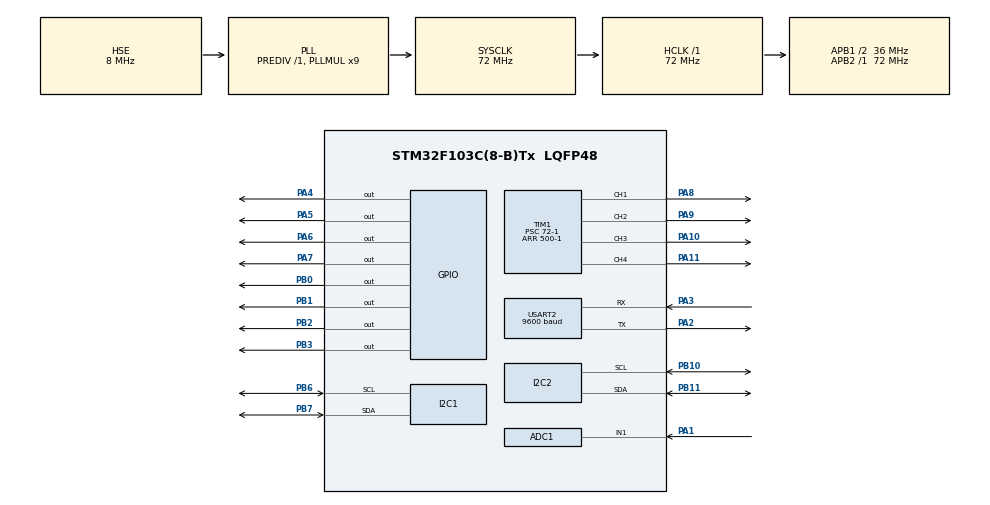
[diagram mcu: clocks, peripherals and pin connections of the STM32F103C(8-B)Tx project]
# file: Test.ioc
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ADC1.Channel-1\#ChannelRegularConversion=ADC_CHANNEL_1
ADC1.NbrOfConversionFlag=1
ADC1.Rank-1\#ChannelRegularConversion=1
ADC1.SamplingTime-1\#ChannelRegularConversion=ADC_SAMPLETIME_1CYCLE_5
ADC1.master=1
Dma.ADC1.2.Direction=DMA_PERIPH_TO_MEMORY
Dma.ADC1.2.Instance=DMA1_Channel1
Dma.ADC1.2.MemDataAlignment=DMA_MDATAALIGN_HALFWORD
Dma.ADC1.2.MemInc=DMA_MINC_ENABLE
Dma.ADC1.2.Mode=DMA_NORMAL
Dma.ADC1.2.PeriphDataAlignment=DMA_PDATAALIGN_HALFWORD
Dma.ADC1.2.PeriphInc=DMA_PINC_DISABLE
Dma.ADC1.2.Priority=DMA_PRIORITY_LOW
Dma.I2C1_RX.0.Direction=DMA_PERIPH_TO_MEMORY
Dma.I2C1_RX.0.Instance=DMA1_Channel7
Dma.I2C1_RX.0.MemDataAlignment=DMA_MDATAALIGN_BYTE
Dma.I2C1_RX.0.MemInc=DMA_MINC_ENABLE
Dma.I2C1_RX.0.Mode=DMA_NORMAL
Dma.I2C1_RX.0.PeriphDataAlignment=DMA_PDATAALIGN_BYTE
Dma.I2C1_RX.0.PeriphInc=DMA_PINC_DISABLE
Dma.I2C1_RX.0.Priority=DMA_PRIORITY_HIGH
Dma.Request0=I2C1_RX
Dma.Request1=USART2_RX
Dma.Request2=ADC1
Dma.USART2_RX.1.Direction=DMA_PERIPH_TO_MEMORY
Dma.USART2_RX.1.Instance=DMA1_Channel6
Dma.USART2_RX.1.MemDataAlignment=DMA_MDATAALIGN_BYTE
Dma.USART2_RX.1.MemInc=DMA_MINC_ENABLE
Dma.USART2_RX.1.Mode=DMA_NORMAL
Dma.USART2_RX.1.PeriphDataAlignment=DMA_PDATAALIGN_BYTE
Dma.USART2_RX.1.PeriphInc=DMA_PINC_DISABLE
Dma.USART2_RX.1.Priority=DMA_PRIORITY_LOW
I2C1.I2C_Mode=I2C_Fast
I2C2.I2C_Mode=I2C_Fast
Mcu.Family=STM32F1
Mcu.Name=STM32F103C(8-B)Tx
Mcu.Package=LQFP48
NVIC.ADC1_2_IRQn=true\:0\:0\:false\:false\:true\:true\:true\:true
NVIC.DMA1_Channel1_IRQn=true\:0\:0\:false\:false\:true\:false\:true\:true
NVIC.DMA1_Channel6_IRQn=true\:0\:0\:false\:false\:true\:false\:true\:true
NVIC.DMA1_Channel7_IRQn=true\:0\:0\:false\:false\:true\:false\:true\:true
NVIC.PriorityGroup=NVIC_PRIORITYGROUP_4
NVIC.TIM3_IRQn=true\:0\:0\:false\:false\:true\:true\:true\:true
NVIC.USART2_IRQn=true\:0\:0\:false\:false\:true\:true\:true\:true
PA1.Signal=ADCx_IN1
PA10.Signal=S_TIM1_CH3
PA11.Signal=S_TIM1_CH4
PA13.Mode=Serial_Wire
PA13.Signal=SYS_JTMS-SWDIO
PA14.Mode=Serial_Wire
PA14.Signal=SYS_JTCK-SWCLK
PA2.Mode=Asynchronous
PA2.Signal=USART2_TX
PA3.Mode=Asynchronous
PA3.Signal=USART2_RX
PA4.Signal=GPIO_Output
PA5.Signal=GPIO_Output
PA6.Signal=GPIO_Output
PA7.Signal=GPIO_Output
PA8.Signal=S_TIM1_CH1
PA9.Signal=S_TIM1_CH2
PB0.Signal=GPIO_Output
PB1.Signal=GPIO_Output
PB10.Mode=I2C
PB10.Signal=I2C2_SCL
PB11.Mode=I2C
PB11.Signal=I2C2_SDA
PB2.Signal=GPIO_Output
PB3.Signal=GPIO_Output
PB6.Mode=I2C
PB6.Signal=I2C1_SCL
PB7.Mode=I2C
PB7.Signal=I2C1_SDA
PD0-OSC_IN.Mode=HSE-External-Oscillator
PD0-OSC_IN.Signal=RCC_OSC_IN
PD1-OSC_OUT.Mode=HSE-External-Oscillator
PD1-OSC_OUT.Signal=RCC_OSC_OUT
ProjectManager.HeapSize=0x200
ProjectManager.StackSize=0x400
ProjectManager.TargetToolchain=STM32CubeIDE
RCC.ADCPresc=RCC_ADCPCLK2_DIV6
RCC.AHBFreq_Value=72000000
RCC.APB1CLKDivider=RCC_HCLK_DIV2
RCC.APB1Freq_Value=36000000
RCC.APB1TimFreq_Value=72000000
RCC.APB2Freq_Value=72000000
RCC.APB2TimFreq_Value=72000000
RCC.HCLKFreq_Value=72000000
RCC.PLLMUL=RCC_PLL_MUL9
RCC.PLLSourceVirtual=RCC_PLLSOURCE_HSE
RCC.SYSCLKFreq_VALUE=72000000
RCC.SYSCLKSource=RCC_SYSCLKSOURCE_PLLCLK
RCC.USBFreq_Value=72000000
SH.ADCx_IN1.0=ADC1_IN1,IN1
SH.S_TIM1_CH1.0=TIM1_CH1,PWM Generation1 CH1
SH.S_TIM1_CH2.0=TIM1_CH2,PWM Generation2 CH2
SH.S_TIM1_CH3.0=TIM1_CH3,PWM Generation3 CH3
SH.S_TIM1_CH4.0=TIM1_CH4,PWM Generation4 CH4
TIM1.Channel-PWM\ Generation1\ CH1=TIM_CHANNEL_1
TIM1.Channel-PWM\ Generation2\ CH2=TIM_CHANNEL_2
TIM1.Channel-PWM\ Generation3\ CH3=TIM_CHANNEL_3
TIM1.Channel-PWM\ Generation4\ CH4=TIM_CHANNEL_4
TIM1.Period=500-1
TIM1.Prescaler=72-1
TIM3.Period=80-1
TIM3.Prescaler=7200-1
USART2.BaudRate=9600
USART2.VirtualMode=VM_ASYNC
VP_TIM1_VS_ClockSourceINT.Mode=Internal
VP_TIM3_VS_ClockSourceINT.Mode=Internal
board=custom

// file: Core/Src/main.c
/* USER CODE BEGIN Header */
/**
  ******************************************************************************
  * @file           : main.c
  * @brief          : Main program body
  ******************************************************************************
  * @attention
  *
  * Copyright (c) 2025 STMicroelectronics.
  * All rights reserved.
  *
  * This software is licensed under terms that can be found in the LICENSE file
  * in the root directory of this software component.
  * If no LICENSE file comes with this software, it is provided AS-IS.
  *
  ******************************************************************************
  */
/* USER CODE END Header */
#include "main.h"
#include "adc.h"
#include "dma.h"
#include "i2c.h"
#include "tim.h"
#include "usart.h"
#include "gpio.h"

/* USER CODE BEGIN Includes */
#include "stdio.h"
#include "oled.h"
#include "mpu6050.h"
#include "madgwick.h"
#include "tb6612.h"
#include "pid.h"
#include "jdy23.h"
#include "battery.h"
/* USER CODE END Includes */

/* USER CODE BEGIN PV */

MPU6050_t mpu6050;
MadgwickFilter filter;
char displayBuffer[40]; // 显示缓冲区
volatile uint8_t data_status = 0; // 数据就绪标志
volatile uint8_t calibration_status = 0; // 校准状态标志
uint32_t display_timer = 0;     // 显示更新计时器
uint32_t last_sample_time = 0;
uint8_t battery_percent = 0; // 电池状态变量
// PID控制
PID_Controller pitch_pid, roll_pid, yaw_pid;
// 当前姿态
float current_roll, current_pitch, current_yaw;
// 目标姿态
float target_throttle, target_roll, target_pitch, target_yaw;
// 电机占空比
float motorA, motorB, motorC, motorD;
/* USER CODE END PV */

void SystemClock_Config(void);

/* USER CODE BEGIN 0 */
// TIM3中断处理
void HAL_TIM_PeriodElapsedCallback(TIM_HandleTypeDef *htim) {
    if (htim->Instance == TIM3 && calibration_status) {
        // 启动DMA读取
        MPU6050_Read_All_DMA(&mpu6050);
    }
}

// DMA传输完成回调
void HAL_I2C_MemRxCpltCallback(I2C_HandleTypeDef *hi2c) {
    if (hi2c->Instance == I2C1 && calibration_status) {
        data_status = 1;
    }
}

// I2C错误处理
void HAL_I2C_ErrorCallback(I2C_HandleTypeDef *hi2c) {
    if (hi2c->Instance == I2C1 && calibration_status) {
        // 错误计数
        static uint8_t error_count = 0;
        error_count++;

        if(error_count > 5) {
            // 严重错误 - 重启I2C
            HAL_I2C_DeInit(&hi2c1);
            MX_I2C1_Init();
            error_count = 0;
        }

        // 重新尝试读取
        MPU6050_Read_All_DMA(&mpu6050);
    }
}
/* USER CODE END 0 */

int main(void)
{

  /* MCU Configuration--------------------------------------------------------*/

  /* Reset of all peripherals, Initializes the Flash interface and the Systick. */
  HAL_Init();

  /* Configure the system clock */
  SystemClock_Config();

  /* Initialize all configured peripherals */
  MX_GPIO_Init();
  MX_DMA_Init();
  MX_I2C1_Init();
  MX_I2C2_Init();
  MX_TIM3_Init();
  MX_TIM1_Init();
  MX_USART2_UART_Init();
  MX_ADC1_Init();
  /* USER CODE BEGIN 2 */
  HAL_Delay(20);
  OLED_Init();
  JDY23_Init();
  TB6612_Init();

  // PID初始化
  PID_Init(&pitch_pid, 1.2f, 0.05f, 0.2f, 30.0f);  // PITCH PID参数
  PID_Init(&roll_pid,  0.8f, 0.05f, 0.2f, 30.0f);   // ROLL PID参数
  PID_Init(&yaw_pid,   0.8f, 0.01f, 0.1f, 20.0f);   // YAW PID参数

  // 初始化MPU6050
  if (MPU6050_Init()){
	  while(1) {
		  OLED_NewFrame();
		  OLED_PrintASCIIString(0, 1, "MPU6050 Error!", &afont8x6, OLED_COLOR_NORMAL);
		  OLED_ShowFrame();
	  }
  }

  // 上电自动校准陀螺仪
  MPU6050_Calibrate(&mpu6050, 500); // 采集500个样本

  // 初始化Madgwick滤波器
  Madgwick_Init(&filter, 0.1f, 125.0f);

  // 标记校准完成
  calibration_status = 1;

  // 启动定时器
  HAL_TIM_Base_Start_IT(&htim3);

  /* USER CODE END 2 */

  /* Infinite loop */
  /* USER CODE BEGIN WHILE */
  while (1)
  {
	  // 检查数据是否就绪
	  if (data_status) {
		  data_status = 0; // 清除标志

		  // 计算采样间隔 (用于滤波器)
		  uint32_t current_time = HAL_GetTick();
		  float dt = (current_time - last_sample_time) / 1000.0f;
		  last_sample_time = current_time;

		  // 更新采样频率
		  if(dt > 0) filter.sampleFreq = 1.0f / dt;

		  // 处理数据
		  MPU6050_Process_Data(&mpu6050);

		  // 更新姿态
		  Madgwick_Update(&filter,
						  mpu6050.Gx, mpu6050.Gy, mpu6050.Gz,
						  mpu6050.Ax, mpu6050.Ay, mpu6050.Az);

		  // 获取欧拉角
		  Get_Euler_Angles(&filter, &current_roll, &current_pitch, &current_yaw);

		  // 检查蓝牙超时
		  JDY23_CheckTimeout();

		  /* 蓝牙指令（定点 int16×100）→ 浮点 */
		  target_throttle = jdy23_cmd.throttle / 100.0f;   // 0~100 %
		  target_roll     = jdy23_cmd.roll     / 100.0f;   // -30~30°
		  target_pitch    = jdy23_cmd.pitch    / 100.0f;
		  target_yaw      = jdy23_cmd.yaw      / 100.0f;

		  // 计算PID控制量
		  float pitch_output = PID_Calculate(&pitch_pid,  target_roll, current_pitch);
		  float roll_output  = PID_Calculate(&roll_pid,  target_pitch,  current_roll);
		  float yaw_output   = PID_Calculate(&yaw_pid,   target_yaw,   current_yaw);

		  // 电机混控
		  Motor_Mixing(target_throttle, pitch_output, roll_output, yaw_output,
		  					  &motorA, &motorB, &motorC, &motorD);

		  /* 电机 0（MA）正转 */
		  TB6612_SetMotor(0, DIR_CW, (uint8_t)motorA);
		  /* 电机 1（MB）反转 */
		  TB6612_SetMotor(1, DIR_CCW, (uint8_t)motorB);
		  /* 电机 2（MC）正转 */
		  TB6612_SetMotor(2, DIR_CW, (uint8_t)motorC);
		  /* 电机 3（MD）反转 */
		  TB6612_SetMotor(3, DIR_CCW, (uint8_t)motorD);

	  }

	  // 20Hz更新显示
	  if (HAL_GetTick() - display_timer >= 50) {
		  display_timer = HAL_GetTick();

		  //获取电量百分比
		  battery_percent = Battery_GetPercentage();

		  OLED_NewFrame();
		  // 温度 电池百分比
		  snprintf(displayBuffer, sizeof(displayBuffer),
				   "T:%2.1fC, B:%3d%%", mpu6050.Temp, battery_percent);
		  OLED_PrintASCIIString(0, 1, displayBuffer, &afont8x6, OLED_COLOR_NORMAL);
		  // 目标姿态：R P Y
		  snprintf(displayBuffer, sizeof(displayBuffer),
				   "TRPY:%4.1f,%4.1f,%4.1f",
				   target_roll, target_pitch, target_yaw);
		  OLED_PrintASCIIString(0, 11, displayBuffer, &afont8x6, OLED_COLOR_NORMAL);
		  // 实际姿态：R P Y
		  snprintf(displayBuffer, sizeof(displayBuffer),
				   "CRPY:%4.1f,%4.1f,%4.1f",
				   current_roll, current_pitch, current_yaw);
		  OLED_PrintASCIIString(0, 21, displayBuffer, &afont8x6, OLED_COLOR_NORMAL);
		  // 电机占空比
		  snprintf(displayBuffer, sizeof(displayBuffer),
				   "M:%3d,%3d,%3d,%3d",
				   (uint8_t)motorA, (uint8_t)motorB, (uint8_t)motorC, (uint8_t)motorD);
		  OLED_PrintASCIIString(0, 31, displayBuffer, &afont8x6, OLED_COLOR_NORMAL);
		  OLED_ShowFrame();

		  // 发送电量信息到手机
		  JDY23_SendBattery(battery_percent);
	  }

	  // 低功耗等待
	  __WFI();
    /* USER CODE END WHILE */

  }
}

void SystemClock_Config(void)
{
  RCC_OscInitTypeDef RCC_OscInitStruct = {0};
  RCC_ClkInitTypeDef RCC_ClkInitStruct = {0};
  RCC_PeriphCLKInitTypeDef PeriphClkInit = {0};

  /** Initializes the RCC Oscillators according to the specified parameters
  * in the RCC_OscInitTypeDef structure.
  */
  RCC_OscInitStruct.OscillatorType = RCC_OSCILLATORTYPE_HSE;
  RCC_OscInitStruct.HSEState = RCC_HSE_ON;
  RCC_OscInitStruct.HSEPredivValue = RCC_HSE_PREDIV_DIV1;
  RCC_OscInitStruct.HSIState = RCC_HSI_ON;
  RCC_OscInitStruct.PLL.PLLState = RCC_PLL_ON;
  RCC_OscInitStruct.PLL.PLLSource = RCC_PLLSOURCE_HSE;
  RCC_OscInitStruct.PLL.PLLMUL = RCC_PLL_MUL9;
  if (HAL_RCC_OscConfig(&RCC_OscInitStruct) != HAL_OK)
  {
    Error_Handler();
  }

  /** Initializes the CPU, AHB and APB buses clocks
  */
  RCC_ClkInitStruct.ClockType = RCC_CLOCKTYPE_HCLK|RCC_CLOCKTYPE_SYSCLK
                              |RCC_CLOCKTYPE_PCLK1|RCC_CLOCKTYPE_PCLK2;
  RCC_ClkInitStruct.SYSCLKSource = RCC_SYSCLKSOURCE_PLLCLK;
  RCC_ClkInitStruct.AHBCLKDivider = RCC_SYSCLK_DIV1;
  RCC_ClkInitStruct.APB1CLKDivider = RCC_HCLK_DIV2;
  RCC_ClkInitStruct.APB2CLKDivider = RCC_HCLK_DIV1;

  if (HAL_RCC_ClockConfig(&RCC_ClkInitStruct, FLASH_LATENCY_2) != HAL_OK)
  {
    Error_Handler();
  }
  PeriphClkInit.PeriphClockSelection = RCC_PERIPHCLK_ADC;
  PeriphClkInit.AdcClockSelection = RCC_ADCPCLK2_DIV6;
  if (HAL_RCCEx_PeriphCLKConfig(&PeriphClkInit) != HAL_OK)
  {
    Error_Handler();
  }
}

void Error_Handler(void)
{
  __disable_irq();
  while (1)
  {
  }
}
